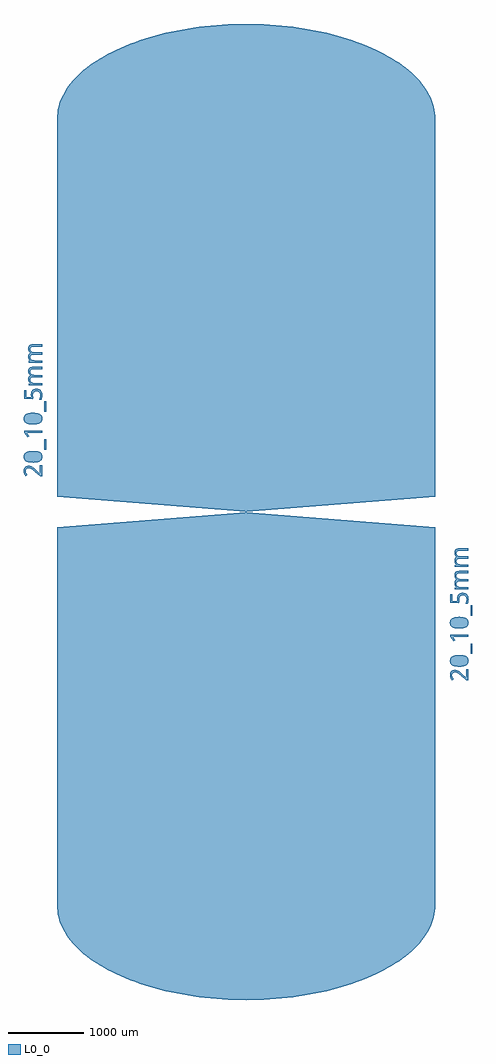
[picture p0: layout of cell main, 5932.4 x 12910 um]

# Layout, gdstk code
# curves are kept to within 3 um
import gdstk
lib = gdstk.Library(unit=1e-6, precision=1e-09)
def R(c, l, rs):  # rectangles x0, y0, x1, y1
    for r in rs: c.add(gdstk.rectangle(r[:2], r[2:], *l))
def P(c, l, *ps):  # polygons
    for p in ps: c.add(gdstk.Polygon(p, *l))
L0_0 = (0, 0)

main = lib.new_cell('main')
R(main, L0_0, [(-3660,-4249,1340,755), (1807.9,-921.8,1830.7,-783.5), (1807.9,-417.6,1830.7,-279.3), (-1170,751,-1150,1161), (-3660,1157,1340,6161), (-3830.1,1777.5,-3807.3,1915.9), (-3830.1,2281.8,-3807.3,2420.1)])
P(main, L0_0, [(1777.9,444.7),(1777.9,474.3),(1648.3,473.7),(1626.9,469.1),(1608.6,456.8),(1597.4,432.8),(1596.8,405.8),(1607.4,379.3),(1625.6,361.7),(1603.2,342.5),(1596.1,305.6),(1604,279.1),(1623.3,259),(1599.2,254.7),(1599.2,230.7),(1777.9,230.7),(1777.9,260.3),(1682.2,260.3),(1650.8,264),(1627.6,278.6),(1620.6,301.9),(1625.7,323.9),(1644.3,335.6),(1777.9,337.6),(1777.9,367.4),(1671,367.6),(1637.2,376.4),(1626.1,387.9),(1621.1,402.4),(1621.5,420.8),(1629.2,434.8),(1654.9,444.4)],
  [(1777.9,146),(1777.9,175.6),(1648.3,175.1),(1626.9,170.4),(1608.6,158.2),(1597.4,134.2),(1596.8,107.1),(1606.5,82),(1625.6,63),(1610.1,53.1),(1601.8,41.2),(1596.1,6.9),(1604,-19.6),(1623.3,-39.7),(1599.2,-43.9),(1599.2,-68),(1777.9,-68),(1777.9,-38.4),(1655.3,-35.8),(1630,-22.9),(1620.6,3.3),(1625.7,25.2),(1644.3,36.9),(1777.9,38.9),(1777.9,68.7),(1671,68.9),(1638.7,76.8),(1626.1,89.3),(1621.1,103.7),(1621.5,122.1),(1629.2,136.2),(1654.9,145.7)],
  [(1631.9,-195.8),(1635.3,-225.2),(1566.9,-218.9),(1566.9,-132.3),(1540,-132.3),(1540,-244.6),(1651.9,-253.6),(1661.2,-238.9),(1657.1,-196),(1663.1,-169.4),(1677.6,-152.3),(1704.9,-145.3),(1734.9,-152.6),(1744.9,-161.2),(1753.1,-176.9),(1754.3,-219.6),(1740.4,-258.6),(1768.3,-258.6),(1774.6,-245.2),(1781.3,-202.3),(1775.8,-163.9),(1762.1,-139.1),(1735,-120.4),(1691.7,-115.4),(1671.5,-120.7),(1657.4,-129.4),(1637.4,-158.5)],
  [(1653.8,-554.5),(1708.3,-551),(1742.4,-538.1),(1755.4,-516.1),(1750,-487.6),(1724.2,-470.1),(1681.7,-463.2),(1616,-465.1),(1577.1,-478.2),(1566.5,-489.4),(1561.9,-504.1),(1563.7,-522.6),(1571.8,-535.1),(1599.3,-548.9)],
  [(1652.9,-432.6),(1589.9,-441.8),(1565.4,-453.4),(1550.1,-467.1),(1539.2,-487.5),(1536.2,-508.9),(1539.2,-531.4),(1550.3,-552),(1582.2,-573.8),(1636.5,-584),(1710.3,-580.1),(1757.6,-560),(1774.4,-539.5),(1781.1,-512.7),(1778.2,-486.3),(1765.1,-463),(1748.9,-450.2),(1723.3,-439.7)],
  [(1777.9,-668.4),(1540,-668.4),(1540,-692.8),(1588.6,-755.2),(1608.6,-739.6),(1570.6,-695.8),(1777.9,-697.1)],
  [(1653.8,-1058.7),(1704.9,-1055.8),(1740.4,-1043.7),(1755,-1022.6),(1755.4,-1006),(1750,-991.8),(1724.2,-974.4),(1681.7,-967.4),(1623.5,-968.4),(1579,-981.1),(1567.6,-991.8),(1561.9,-1008.3),(1563.7,-1026.8),(1571.8,-1039.4),(1602.4,-1053.9)],
  [(1658.6,-936.8),(1621.1,-939.1),(1585.8,-947.4),(1565.4,-957.6),(1548.1,-973.9),(1538.3,-995.1),(1536.9,-1024.9),(1546.3,-1051),(1562.6,-1067.7),(1607.1,-1084.8),(1686,-1087.7),(1735,-1077),(1769.3,-1052.2),(1779.2,-1031.1),(1781.1,-1009.1),(1775.8,-984),(1762.8,-964.9),(1727.4,-945.1)],
  [(1777.9,-1124.3),(1751,-1124.3),(1751,-1236.5),(1658.6,-1154.8),(1629,-1139),(1597.2,-1133.8),(1564.7,-1143.1),(1553.6,-1152.1),(1542.9,-1168.7),(1537.6,-1186.9),(1536.9,-1210.1),(1547.9,-1246.9),(1564.6,-1270.3),(1583.9,-1253.7),(1564.7,-1222.3),(1563.7,-1187.9),(1569.2,-1177.6),(1581.5,-1167.7),(1608.6,-1164),(1630.6,-1169.7),(1653.6,-1183.5),(1752.5,-1272.8),(1777.9,-1272.8)],
  [(-3860,3144.1),(-3860,3173.7),(-3989.6,3173.1),(-4011,3168.5),(-4029.3,3156.2),(-4040.6,3132.2),(-4041.1,3105.2),(-4031.5,3080),(-4012.3,3061.1),(-4027.8,3051.2),(-4036.2,3039.2),(-4041.6,3002),(-4033.9,2978.5),(-4014.6,2958.4),(-4038.7,2954.1),(-4038.7,2930),(-3860,2930),(-3860,2959.7),(-3955.7,2959.7),(-3989.3,2964),(-4010.3,2978),(-4017.4,3003.8),(-4010.6,3025.3),(-3990.3,3035.7),(-3860,3037),(-3860,3066.8),(-3966.9,3067),(-4000.8,3075.8),(-4010.9,3085.8),(-4016.8,3101.8),(-4016.4,3120.2),(-4008.8,3134.2),(-3983.1,3143.8)],
  [(-3860,2845.4),(-3860,2875),(-3995.5,2873.7),(-4019.4,2865.8),(-4032,2854.3),(-4040.6,2833.6),(-4040.2,2801.8),(-4030.6,2780.1),(-4012.3,2762.4),(-4027.8,2752.5),(-4036.2,2740.6),(-4041.6,2703.4),(-4033.9,2679.8),(-4014.6,2659.7),(-4038.7,2655.5),(-4038.7,2631.4),(-3860,2631.4),(-3860,2661),(-3955.7,2661),(-3987.2,2664.7),(-4010.3,2679.3),(-4017.4,2705.1),(-4010.6,2726.6),(-3990.3,2737),(-3860,2738.3),(-3860,2768.1),(-3966.9,2768.3),(-4000.8,2777.2),(-4010.9,2787.1),(-4016.8,2803.1),(-4016.4,2821.5),(-4008.8,2835.6),(-3983.1,2845.1)],
  [(-4006,2503.6),(-4002.7,2474.2),(-4070.9,2480.5),(-4070.9,2567.1),(-4098,2567.1),(-4098,2454.8),(-3986,2445.8),(-3976.7,2460.5),(-3980.8,2503.4),(-3974.9,2530),(-3957,2548.9),(-3933.1,2554.1),(-3901.5,2545.8),(-3884.9,2522.5),(-3883.4,2481.4),(-3897.6,2440.8),(-3869.6,2440.8),(-3863.4,2454.2),(-3856.8,2493.8),(-3862.1,2535.5),(-3877.9,2562.5),(-3903,2579),(-3946.2,2584),(-3963.8,2579.8),(-3980.6,2570),(-3999.5,2543.6)],
  [(-3984.1,2144.9),(-3929.6,2148.4),(-3895.6,2161.3),(-3882.5,2183.3),(-3888,2211.8),(-3911.1,2228.3),(-3956.3,2236.2),(-4025.5,2233.7),(-4060.9,2221.2),(-4071.4,2210),(-4076.1,2195.3),(-4074.8,2178.9),(-4066.1,2164.2),(-4038.6,2150.5)],
  [(-3985,2266.8),(-4052.1,2256.2),(-4087.8,2232.3),(-4098.7,2211.9),(-4101.6,2186.4),(-4096.4,2161.5),(-4085.6,2144.8),(-4048,2123),(-3985,2114.8),(-3923.2,2120.3),(-3895.7,2129.8),(-3877.7,2141.6),(-3863.5,2159.8),(-3856.8,2186.7),(-3859.7,2213),(-3870.7,2233.8),(-3889.1,2249.2),(-3914.7,2259.7)],
  [(-3860,2031),(-4098,2031),(-4098,2006.5),(-4049.3,1944.2),(-4029.3,1959.8),(-4067.4,2003.6),(-3860,2002.3)],
  [(-3984.1,1640.7),(-3933.1,1643.6),(-3897.5,1655.7),(-3882.9,1676.8),(-3882.5,1693.4),(-3888,1707.6),(-3913.8,1725),(-3956.3,1732),(-4018.2,1730.5),(-4058.9,1718.3),(-4070.3,1707.6),(-4076.1,1691.1),(-4074.8,1674.6),(-4066.1,1660),(-4035.5,1645.5)],
  [(-3979.3,1762.6),(-4048.1,1753.3),(-4072.6,1741.8),(-4089.8,1725.5),(-4100.4,1700.9),(-4101,1674.5),(-4093.4,1651.2),(-4078.1,1633.7),(-4059.3,1622.8),(-4030.9,1614.6),(-3957.2,1611.3),(-3899.2,1623.9),(-3868.7,1647.2),(-3859.7,1664.9),(-3856.8,1690.3),(-3862.1,1715.4),(-3875.2,1734.5),(-3914.7,1755.4)],
  [(-3860,1575.1),(-3887,1575.1),(-3887,1462.9),(-3979.4,1544.6),(-4013.9,1562.1),(-4040.7,1565.6),(-4073.2,1556.3),(-4087.5,1543.6),(-4095.1,1530.7),(-4101.2,1491.3),(-4090.9,1454.1),(-4073.4,1429.1),(-4054,1445.7),(-4073.2,1477.1),(-4074.2,1511.5),(-4067.9,1522.8),(-4056.4,1531.7),(-4027,1535.1),(-4007.4,1529.7),(-3984.4,1515.9),(-3885.4,1426.6),(-3860,1426.6)],
  [(-3660,751),(1340,751),(-1160,950.2),(-1150,951),(-1170,951),(-1160,950.2)],
  [(-3660,1161),(-1160,961.8),(-1170,961),(-1150,961),(-1160,961.8),(1340,1161)],
  [(-3660,-4249),(-3655.1,-4327.5),(-3640.3,-4405.7),(-3599.8,-4521.7),(-3537.7,-4635.3),(-3454.4,-4745.4),(-3350.8,-4851.2),(-3227.7,-4951.6),(-3086.3,-5045.8),(-2927.8,-5132.9),(-2753.6,-5212.1),(-2565.2,-5282.8),(-2364.4,-5344.4),(-2152.9,-5396.2),(-1857.5,-5449.4),(-1628.5,-5476.9),(-1395.3,-5493.5),(-1160,-5499),(-924.7,-5493.5),(-691.6,-5476.9),(-462.5,-5449.4),(-167.1,-5396.2),(44.3,-5344.4),(245.3,-5282.8),(433.6,-5212.1),(607.8,-5132.9),(766.3,-5045.8),(862.5,-4983.7),(950.8,-4918.8),(1067.5,-4816.5),(1164.4,-4709.1),(1240.7,-4597.7),(1295.7,-4483.2),(1328.9,-4366.6),(1340,-4249)],
  [(-3660,-4249),(-3655.1,-4327.5),(-3640.3,-4405.7),(-3599.8,-4521.7),(-3537.7,-4635.3),(-3454.4,-4745.4),(-3350.8,-4851.2),(-3227.7,-4951.6),(-3086.3,-5045.8),(-2927.8,-5132.9),(-2753.6,-5212.1),(-2565.2,-5282.8),(-2364.4,-5344.4),(-2152.9,-5396.2),(-1857.5,-5449.4),(-1628.5,-5476.9),(-1395.3,-5493.5),(-1160,-5499),(-924.7,-5493.5),(-691.6,-5476.9),(-462.5,-5449.4),(-167.1,-5396.2),(44.3,-5344.4),(245.3,-5282.8),(433.6,-5212.1),(607.8,-5132.9),(766.3,-5045.8),(862.5,-4983.7),(950.8,-4918.8),(1067.5,-4816.5),(1164.4,-4709.1),(1240.7,-4597.7),(1295.7,-4483.2),(1328.9,-4366.6),(1340,-4249)],
  [(1340,6161),(1328.9,6278.6),(1295.7,6395.2),(1240.7,6509.8),(1164.4,6621.1),(1102.1,6693.2),(1030.8,6763.2),(907.6,6863.6),(766.3,6957.8),(607.8,7044.9),(433.6,7124.2),(245.3,7194.9),(44.3,7256.4),(-167.1,7308.2),(-387.5,7349.9),(-691.6,7388.9),(-924.7,7405.4),(-1160,7411),(-1395.3,7405.4),(-1628.5,7388.9),(-1932.6,7349.9),(-2152.9,7308.2),(-2364.4,7256.4),(-2565.2,7194.9),(-2753.6,7124.2),(-2927.8,7044.9),(-3086.3,6957.8),(-3227.7,6863.6),(-3350.8,6763.2),(-3454.4,6657.4),(-3537.7,6547.3),(-3599.8,6433.6),(-3640.3,6317.7),(-3655.1,6239.5),(-3660,6161)],
  [(1340,6161),(1328.9,6278.6),(1295.7,6395.2),(1240.7,6509.8),(1164.4,6621.1),(1102.1,6693.2),(1030.8,6763.2),(907.6,6863.6),(766.3,6957.8),(607.8,7044.9),(433.6,7124.2),(245.3,7194.9),(44.3,7256.4),(-167.1,7308.2),(-387.5,7349.9),(-691.6,7388.9),(-924.7,7405.4),(-1160,7411),(-1395.3,7405.4),(-1628.5,7388.9),(-1932.6,7349.9),(-2152.9,7308.2),(-2364.4,7256.4),(-2565.2,7194.9),(-2753.6,7124.2),(-2927.8,7044.9),(-3086.3,6957.8),(-3227.7,6863.6),(-3350.8,6763.2),(-3454.4,6657.4),(-3537.7,6547.3),(-3599.8,6433.6),(-3640.3,6317.7),(-3655.1,6239.5),(-3660,6161)])

lib.write_gds('main.gds')
